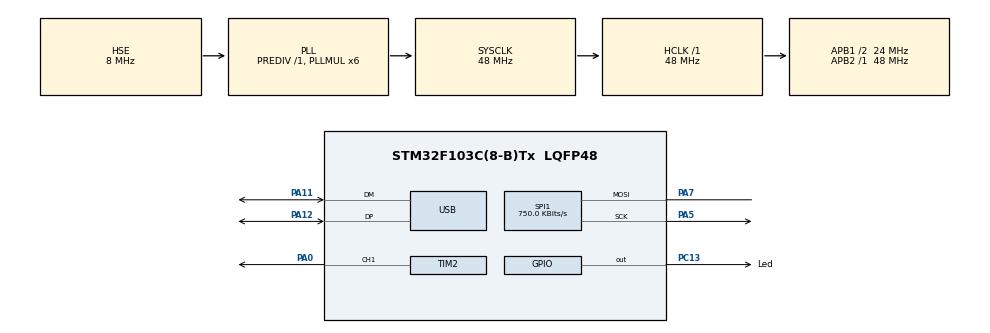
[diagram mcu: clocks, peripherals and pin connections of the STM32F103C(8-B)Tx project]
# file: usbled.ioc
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Dma.Request0=SPI1_TX
Dma.Request1=TIM2_CH1
Dma.SPI1_TX.0.Direction=DMA_MEMORY_TO_PERIPH
Dma.SPI1_TX.0.Instance=DMA1_Channel3
Dma.SPI1_TX.0.MemDataAlignment=DMA_MDATAALIGN_BYTE
Dma.SPI1_TX.0.MemInc=DMA_MINC_ENABLE
Dma.SPI1_TX.0.Mode=DMA_NORMAL
Dma.SPI1_TX.0.PeriphDataAlignment=DMA_PDATAALIGN_BYTE
Dma.SPI1_TX.0.PeriphInc=DMA_PINC_DISABLE
Dma.SPI1_TX.0.Priority=DMA_PRIORITY_MEDIUM
Dma.TIM2_CH1.1.Direction=DMA_MEMORY_TO_PERIPH
Dma.TIM2_CH1.1.Instance=DMA1_Channel5
Dma.TIM2_CH1.1.MemDataAlignment=DMA_MDATAALIGN_BYTE
Dma.TIM2_CH1.1.MemInc=DMA_MINC_ENABLE
Dma.TIM2_CH1.1.Mode=DMA_CIRCULAR
Dma.TIM2_CH1.1.PeriphDataAlignment=DMA_PDATAALIGN_HALFWORD
Dma.TIM2_CH1.1.PeriphInc=DMA_PINC_DISABLE
Dma.TIM2_CH1.1.Priority=DMA_PRIORITY_HIGH
Mcu.Family=STM32F1
Mcu.Name=STM32F103C(8-B)Tx
Mcu.Package=LQFP48
NVIC.DMA1_Channel3_IRQn=true\:0\:0\:false\:false\:true\:false
NVIC.DMA1_Channel5_IRQn=true\:0\:0\:false\:false\:true\:false
NVIC.PriorityGroup=NVIC_PRIORITYGROUP_4
NVIC.USB_LP_CAN1_RX0_IRQn=true\:0\:0\:false\:false\:true\:false
PA0-WKUP.GPIO_Speed=GPIO_SPEED_FREQ_HIGH
PA0-WKUP.Signal=S_TIM2_CH1_ETR
PA11.Mode=Device
PA11.Signal=USB_DM
PA12.Mode=Device
PA12.Signal=USB_DP
PA13.Mode=Serial_Wire
PA13.Signal=SYS_JTMS-SWDIO
PA14.Mode=Serial_Wire
PA14.Signal=SYS_JTCK-SWCLK
PA5.Mode=Simplex_Bidirectional_Master
PA5.Signal=SPI1_SCK
PA7.Mode=Simplex_Bidirectional_Master
PA7.Signal=SPI1_MOSI
PC13-TAMPER-RTC.GPIO_Label=Led
PC13-TAMPER-RTC.GPIO_Speed=GPIO_SPEED_FREQ_LOW
PC13-TAMPER-RTC.PinState=GPIO_PIN_SET
PC13-TAMPER-RTC.Signal=GPIO_Output
PD0-OSC_IN.Mode=HSE-External-Oscillator
PD0-OSC_IN.Signal=RCC_OSC_IN
PD1-OSC_OUT.Mode=HSE-External-Oscillator
PD1-OSC_OUT.Signal=RCC_OSC_OUT
ProjectManager.HeapSize=0x200
ProjectManager.StackSize=0x400
ProjectManager.TargetToolchain=Makefile
RCC.AHBFreq_Value=48000000
RCC.APB1CLKDivider=RCC_HCLK_DIV2
RCC.APB1Freq_Value=24000000
RCC.APB1TimFreq_Value=48000000
RCC.APB2Freq_Value=48000000
RCC.APB2TimFreq_Value=48000000
RCC.HCLKFreq_Value=48000000
RCC.PLLMUL=RCC_PLL_MUL6
RCC.SYSCLKFreq_VALUE=48000000
RCC.SYSCLKSource=RCC_SYSCLKSOURCE_PLLCLK
RCC.USBFreq_Value=48000000
SH.S_TIM2_CH1_ETR.0=TIM2_CH1,PWM Generation1 CH1
SPI1.BaudRatePrescaler=SPI_BAUDRATEPRESCALER_64
SPI1.CalculateBaudRate=750.0 KBits/s
SPI1.Direction=SPI_DIRECTION_1LINE
SPI1.Mode=SPI_MODE_MASTER
SPI1.VirtualType=VM_MASTER
TIM2.Channel-PWM\ Generation1\ CH1=TIM_CHANNEL_1
TIM2.Period=59
TIM2.Pulse-PWM\ Generation1\ CH1=19
USB_DEVICE.CLASS_NAME_FS=CDC
USB_DEVICE.VirtualMode=Cdc
USB_DEVICE.VirtualModeFS=Cdc_FS
VP_USB_DEVICE_VS_USB_DEVICE_CDC_FS.Mode=CDC_FS
board=usbled

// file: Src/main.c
/* USER CODE BEGIN Header */
/**
  ******************************************************************************
  * @file           : main.c
  * @brief          : Main program body
  ******************************************************************************
  * This notice applies to any and all portions of this file
  * that are not between comment pairs USER CODE BEGIN and
  * USER CODE END. Other portions of this file, whether
  * inserted by the user or by software development tools
  * are owned by their respective copyright owners.
  *
  * Copyright (c) 2018 STMicroelectronics International N.V.
  * All rights reserved.
  *
  * Redistribution and use in source and binary forms, with or without
  * modification, are permitted, provided that the following conditions are met:
  *
  * 1. Redistribution of source code must retain the above copyright notice,
  *    this list of conditions and the following disclaimer.
  * 2. Redistributions in binary form must reproduce the above copyright notice,
  *    this list of conditions and the following disclaimer in the documentation
  *    and/or other materials provided with the distribution.
  * 3. Neither the name of STMicroelectronics nor the names of other
  *    contributors to this software may be used to endorse or promote products
  *    derived from this software without specific written permission.
  * 4. This software, including modifications and/or derivative works of this
  *    software, must execute solely and exclusively on microcontroller or
  *    microprocessor devices manufactured by or for STMicroelectronics.
  * 5. Redistribution and use of this software other than as permitted under
  *    this license is void and will automatically terminate your rights under
  *    this license.
  *
  * THIS SOFTWARE IS PROVIDED BY STMICROELECTRONICS AND CONTRIBUTORS "AS IS"
  * AND ANY EXPRESS, IMPLIED OR STATUTORY WARRANTIES, INCLUDING, BUT NOT
  * LIMITED TO, THE IMPLIED WARRANTIES OF MERCHANTABILITY, FITNESS FOR A
  * PARTICULAR PURPOSE AND NON-INFRINGEMENT OF THIRD PARTY INTELLECTUAL PROPERTY
  * RIGHTS ARE DISCLAIMED TO THE FULLEST EXTENT PERMITTED BY LAW. IN NO EVENT
  * SHALL STMICROELECTRONICS OR CONTRIBUTORS BE LIABLE FOR ANY DIRECT, INDIRECT,
  * INCIDENTAL, SPECIAL, EXEMPLARY, OR CONSEQUENTIAL DAMAGES (INCLUDING, BUT NOT
  * LIMITED TO, PROCUREMENT OF SUBSTITUTE GOODS OR SERVICES; LOSS OF USE, DATA,
  * OR PROFITS; OR BUSINESS INTERRUPTION) HOWEVER CAUSED AND ON ANY THEORY OF
  * LIABILITY, WHETHER IN CONTRACT, STRICT LIABILITY, OR TORT (INCLUDING
  * NEGLIGENCE OR OTHERWISE) ARISING IN ANY WAY OUT OF THE USE OF THIS SOFTWARE,
  * EVEN IF ADVISED OF THE POSSIBILITY OF SUCH DAMAGE.
  *
  ******************************************************************************
  */
/* USER CODE END Header */

#include "main.h"
#include "usb_device.h"

/* USER CODE BEGIN Includes */
#include <usbd_cdc_if.h>
#include <circ_buf.h>
/* USER CODE END Includes */

SPI_HandleTypeDef hspi1;
DMA_HandleTypeDef hdma_spi1_tx;

TIM_HandleTypeDef htim2;
DMA_HandleTypeDef hdma_tim2_ch1;

/* USER CODE BEGIN PV */
/* Private variables ---------------------------------------------------------*/

/* USER CODE END PV */

void SystemClock_Config(void);
static void MX_GPIO_Init(void);
static void MX_DMA_Init(void);
static void MX_SPI1_Init(void);
static void MX_TIM2_Init(void);
/* USER CODE BEGIN PFP */
/* Private function prototypes -----------------------------------------------*/
typedef enum {
    APP_SATTE_INIT,
    APP_SATTE_INIT_D,
    APP_SATTE_INIT_A,
    APP_SATTE_HI,
    APP_SATTE_LO,
    APP_SATTE_CHK,
    APP_SATTE_DATA
} AppState_t;

CIRC_BUF_DEF(cdc_circ_buf, 1024);
volatile static uint8_t needUpdate = 0;
#define LED_COUNT 1000
uint8_t ledBuf[LED_COUNT * 3] = {0};
#define LED_PWM_HALF_LEN 50
#define LED_PWM_TOTAL_LEN (LED_PWM_HALF_LEN*2)
#define PWM_BUFF_LEN  (LED_PWM_TOTAL_LEN * 3 * 8)
uint8_t ledPWMBuf[PWM_BUFF_LEN] = {0};

uint16_t ledPWMBufIndex;   // 下次DMA数据写入到 ledPWMBuf 的 Index
uint16_t ledPWMSendIndex;  //  ledBuf中下一个写入到 ledPWMBuf 进行数据传输的 Index
static uint8_t hi, lo, chk;
static AppState_t appState;
static uint16_t ledLen = LED_COUNT*3;
static uint16_t ledBufIndex = 0;
static uint32_t last_data_tick;

void HAL_TIM_PWM_PulseFinishedCallback(TIM_HandleTypeDef *htim);
void APP_PWM_Start_DMA(void);
void APP_TIM_DMADelayPulseCplt(DMA_HandleTypeDef *hdma);
void APP_PWM_Fill_Half(void);
void fillLedPwmBuff(int ledx, uint8_t value);
/* USER CODE END PFP */

int main(void)
{

  /* MCU Configuration--------------------------------------------------------*/

  /* Reset of all peripherals, Initializes the Flash interface and the Systick. */
  HAL_Init();

  /* Configure the system clock */
  SystemClock_Config();

  /* Initialize all configured peripherals */
  MX_GPIO_Init();
  MX_DMA_Init();
  MX_USB_DEVICE_Init();
  MX_SPI1_Init();
  MX_TIM2_Init();
  /* USER CODE BEGIN 2 */

  HAL_Delay(100);
  uint16_t i;
  for (i = 0; i < LED_COUNT; i++) {
    ledBuf[i * 3] = 0x00;
    ledBuf[i * 3 + 1] = 0x00;
    ledBuf[i * 3 + 2] = 0x01;
  }

//  HAL_TIM_PWM_Start_DMA(&htim2, TIM_CHANNEL_1, (uint32_t *)&ledPWMBuf[0], PWM_BUFF_LEN);
  APP_PWM_Start_DMA();
  HAL_SPI_Transmit_DMA(&hspi1, &ledBuf[0], LED_COUNT * 3);
  HAL_Delay(500);

  for (i = 0; i < LED_COUNT; i++) {
    ledBuf[i * 3] = 0x00;
    ledBuf[i * 3 + 1] = 0x00;
    ledBuf[i * 3 + 2] = 0x00;
  }
//  HAL_TIM_PWM_Start_DMA(&htim2, TIM_CHANNEL_1, (uint32_t *)&ledPWMBuf[0], PWM_BUFF_LEN);
  APP_PWM_Start_DMA();
  HAL_SPI_Transmit_DMA(&hspi1, &ledBuf[0], LED_COUNT * 3);
  HAL_Delay(10);

  uint8_t buf[12];

  buf[0] = 'A';
  buf[1] = 'd';
  buf[2] = 'a';
  buf[3] = '\n';
  CDC_Transmit_FS(buf, 4);
  last_data_tick = HAL_GetTick();

  uint8_t tmp;
  int tmp_result;
  uint32_t cur_tick;
  appState = APP_SATTE_INIT;

  /* USER CODE END 2 */

  /* Infinite loop */
  while (1) {

    /* USER CODE BEGIN 3 */
    cur_tick = HAL_GetTick();
    if (cur_tick - last_data_tick > 15000) {
      buf[0] = 'A';
      buf[1] = 'd';
      buf[2] = 'a';
      buf[3] = '\n';
      appState = APP_SATTE_INIT;
      CDC_Transmit_FS(buf, 4);
      last_data_tick = HAL_GetTick();
      HAL_GPIO_WritePin(Led_GPIO_Port, Led_Pin, GPIO_PIN_RESET);
    }
    tmp_result = circ_buf_pop(&cdc_circ_buf, &tmp);
    if (-1 == tmp_result) {
      continue;
    }
    last_data_tick = cur_tick;
    switch (appState) {
      case APP_SATTE_INIT:
        if (tmp == 'A') {
          appState = APP_SATTE_INIT_D;
        }
        break;
      case APP_SATTE_INIT_D:
        if (tmp == 'd') {
          appState = APP_SATTE_INIT_A;

        } else {
          appState = APP_SATTE_INIT;
        }
        break;
      case APP_SATTE_INIT_A:
        if (tmp == 'a') {
          appState = APP_SATTE_HI;

        } else {
          appState = APP_SATTE_INIT;
        }
        break;
      case APP_SATTE_HI:
        hi = tmp;
        appState = APP_SATTE_LO;
        break;
      case APP_SATTE_LO:
        lo = tmp;
        appState = APP_SATTE_CHK;
        break;
      case APP_SATTE_CHK:
        chk = tmp;

        if (chk == (hi ^ lo ^ 0x55)) {
          ledLen = (uint16_t) (3L * (256L * (long) hi + (long) lo + 1));
          ledBufIndex = 0;
          appState = APP_SATTE_DATA;
          HAL_GPIO_WritePin(Led_GPIO_Port, Led_Pin, GPIO_PIN_RESET);
        } else {
          appState = APP_SATTE_INIT;

        }
        break;
      case APP_SATTE_DATA:
        ledBuf[ledBufIndex] = tmp;
        ledBufIndex++;
        if (ledBufIndex == ledLen) {
//          HAL_TIM_PWM_Start_DMA(&htim2, TIM_CHANNEL_1, (uint32_t *)&ledPWMBuf[0], (uint16_t)((LED_PWM_RESET_LEN*3+ledLen)*8));
          APP_PWM_Start_DMA();
          HAL_SPI_Transmit_DMA(&hspi1, &ledBuf[0], ledLen);
          appState = APP_SATTE_INIT;
        }
        break;
    }
  }
  /* USER CODE END 3 */
}

void SystemClock_Config(void)
{
  RCC_OscInitTypeDef RCC_OscInitStruct = {0};
  RCC_ClkInitTypeDef RCC_ClkInitStruct = {0};
  RCC_PeriphCLKInitTypeDef PeriphClkInit = {0};

  /**Initializes the CPU, AHB and APB busses clocks
  */
  RCC_OscInitStruct.OscillatorType = RCC_OSCILLATORTYPE_HSE;
  RCC_OscInitStruct.HSEState = RCC_HSE_ON;
  RCC_OscInitStruct.HSEPredivValue = RCC_HSE_PREDIV_DIV1;
  RCC_OscInitStruct.HSIState = RCC_HSI_ON;
  RCC_OscInitStruct.PLL.PLLState = RCC_PLL_ON;
  RCC_OscInitStruct.PLL.PLLSource = RCC_PLLSOURCE_HSE;
  RCC_OscInitStruct.PLL.PLLMUL = RCC_PLL_MUL6;
  if (HAL_RCC_OscConfig(&RCC_OscInitStruct) != HAL_OK)
  {
    Error_Handler();
  }
  /**Initializes the CPU, AHB and APB busses clocks
  */
  RCC_ClkInitStruct.ClockType = RCC_CLOCKTYPE_HCLK|RCC_CLOCKTYPE_SYSCLK
                              |RCC_CLOCKTYPE_PCLK1|RCC_CLOCKTYPE_PCLK2;
  RCC_ClkInitStruct.SYSCLKSource = RCC_SYSCLKSOURCE_PLLCLK;
  RCC_ClkInitStruct.AHBCLKDivider = RCC_SYSCLK_DIV1;
  RCC_ClkInitStruct.APB1CLKDivider = RCC_HCLK_DIV2;
  RCC_ClkInitStruct.APB2CLKDivider = RCC_HCLK_DIV1;

  if (HAL_RCC_ClockConfig(&RCC_ClkInitStruct, FLASH_LATENCY_1) != HAL_OK)
  {
    Error_Handler();
  }
  PeriphClkInit.PeriphClockSelection = RCC_PERIPHCLK_USB;
  PeriphClkInit.UsbClockSelection = RCC_USBCLKSOURCE_PLL;
  if (HAL_RCCEx_PeriphCLKConfig(&PeriphClkInit) != HAL_OK)
  {
    Error_Handler();
  }
}

static void MX_SPI1_Init(void)
{

  /* SPI1 parameter configuration*/
  hspi1.Instance = SPI1;
  hspi1.Init.Mode = SPI_MODE_MASTER;
  hspi1.Init.Direction = SPI_DIRECTION_1LINE;
  hspi1.Init.DataSize = SPI_DATASIZE_8BIT;
  hspi1.Init.CLKPolarity = SPI_POLARITY_LOW;
  hspi1.Init.CLKPhase = SPI_PHASE_1EDGE;
  hspi1.Init.NSS = SPI_NSS_SOFT;
  hspi1.Init.BaudRatePrescaler = SPI_BAUDRATEPRESCALER_64;
  hspi1.Init.FirstBit = SPI_FIRSTBIT_MSB;
  hspi1.Init.TIMode = SPI_TIMODE_DISABLE;
  hspi1.Init.CRCCalculation = SPI_CRCCALCULATION_DISABLE;
  hspi1.Init.CRCPolynomial = 10;
  if (HAL_SPI_Init(&hspi1) != HAL_OK)
  {
    Error_Handler();
  }

}

static void MX_TIM2_Init(void)
{

  TIM_MasterConfigTypeDef sMasterConfig = {0};
  TIM_OC_InitTypeDef sConfigOC = {0};

  htim2.Instance = TIM2;
  htim2.Init.Prescaler = 0;
  htim2.Init.CounterMode = TIM_COUNTERMODE_UP;
  htim2.Init.Period = 59;
  htim2.Init.ClockDivision = TIM_CLOCKDIVISION_DIV1;
  htim2.Init.AutoReloadPreload = TIM_AUTORELOAD_PRELOAD_DISABLE;
  if (HAL_TIM_PWM_Init(&htim2) != HAL_OK)
  {
    Error_Handler();
  }
  sMasterConfig.MasterOutputTrigger = TIM_TRGO_RESET;
  sMasterConfig.MasterSlaveMode = TIM_MASTERSLAVEMODE_DISABLE;
  if (HAL_TIMEx_MasterConfigSynchronization(&htim2, &sMasterConfig) != HAL_OK)
  {
    Error_Handler();
  }
  sConfigOC.OCMode = TIM_OCMODE_PWM1;
  sConfigOC.Pulse = 19;
  sConfigOC.OCPolarity = TIM_OCPOLARITY_HIGH;
  sConfigOC.OCFastMode = TIM_OCFAST_DISABLE;
  if (HAL_TIM_PWM_ConfigChannel(&htim2, &sConfigOC, TIM_CHANNEL_1) != HAL_OK)
  {
    Error_Handler();
  }
  /* USER CODE BEGIN TIM2_Init 2 */
  htim2.hdma[TIM_DMA_ID_CC1]->XferHalfCpltCallback = APP_TIM_DMADelayPulseCplt;
  /* USER CODE END TIM2_Init 2 */
  HAL_TIM_MspPostInit(&htim2);

}

static void MX_DMA_Init(void)
{
  /* DMA controller clock enable */
  __HAL_RCC_DMA1_CLK_ENABLE();

  /* DMA interrupt init */
  /* DMA1_Channel3_IRQn interrupt configuration */
  HAL_NVIC_SetPriority(DMA1_Channel3_IRQn, 0, 0);
  HAL_NVIC_EnableIRQ(DMA1_Channel3_IRQn);
  /* DMA1_Channel5_IRQn interrupt configuration */
  HAL_NVIC_SetPriority(DMA1_Channel5_IRQn, 0, 0);
  HAL_NVIC_EnableIRQ(DMA1_Channel5_IRQn);

}

static void MX_GPIO_Init(void)
{
  GPIO_InitTypeDef GPIO_InitStruct = {0};

  /* GPIO Ports Clock Enable */
  __HAL_RCC_GPIOC_CLK_ENABLE();
  __HAL_RCC_GPIOD_CLK_ENABLE();
  __HAL_RCC_GPIOA_CLK_ENABLE();

  /*Configure GPIO pin Output Level */
  HAL_GPIO_WritePin(Led_GPIO_Port, Led_Pin, GPIO_PIN_SET);

  /*Configure GPIO pin : Led_Pin */
  GPIO_InitStruct.Pin = Led_Pin;
  GPIO_InitStruct.Mode = GPIO_MODE_OUTPUT_PP;
  GPIO_InitStruct.Pull = GPIO_NOPULL;
  GPIO_InitStruct.Speed = GPIO_SPEED_FREQ_LOW;
  HAL_GPIO_Init(Led_GPIO_Port, &GPIO_InitStruct);

}

/* USER CODE BEGIN 4 */
void onSerial(uint8_t *Buf, uint32_t Len) {
  for (uint32_t i = 0; i < Len; i++) {
    circ_buf_push(&cdc_circ_buf, Buf[i]);
  }
}

void fillLedPwmReset(int ledx) {
  for (uint16_t i = 0; i < 8; i++) {
    ledPWMBuf[ledx*8 + i] = 0x00;
  }
}

void fillLedPwmBuff(int ledx, uint8_t value) {
  uint16_t i;
  if(ledx % 3 == 2){
    ledx = ledx - 2;
  }
  else{
    ledx = ledx + 1;
  }
  for (i = 0; i < 8; i++) {
    ledPWMBuf[ledx*8 + i] = (value & (1 << (7 - i))) ? (uint8_t)(2*TIM2->ARR/3) : (uint8_t)(TIM2->ARR/3);
  }
}

void APP_PWM_Start_DMA(void) {
//  ledPWMBufIndex;   // 下次DMA数据写入到 ledPWMBuf 的 Index
//  ledPWMSendIndex;  //  ledBuf中下一个写入到 ledPWMBuf 进行数据传输的 Index
  ledPWMBufIndex = LED_PWM_HALF_LEN*3;
  ledPWMSendIndex = 0;
  // RESET 码
  uint16_t i = 0;
  for(i=0; i<LED_PWM_HALF_LEN*3; i++){
    fillLedPwmReset(i);
  }
  APP_PWM_Fill_Half();
  HAL_TIM_PWM_Start_DMA(&htim2, TIM_CHANNEL_1, (uint32_t *)&ledPWMBuf[0], (uint16_t)(PWM_BUFF_LEN));
}

void APP_PWM_Fill_Half(void) {
  uint16_t i = 0;
  for(i=0; i<LED_PWM_HALF_LEN*3; i++){
    if(ledPWMSendIndex >= ledLen){
      break;
    }
    fillLedPwmBuff(ledPWMBufIndex+i, ledBuf[ledPWMSendIndex]);
    ledPWMSendIndex ++;
  }
  while(i<LED_PWM_HALF_LEN*3){
    fillLedPwmReset(i);
    i++;
  }
  if(ledPWMBufIndex == 0){
    ledPWMBufIndex = LED_PWM_HALF_LEN*3;
  }
  else{
    ledPWMBufIndex = 0;
  }
}

void APP_TIM_DMADelayPulseCplt(DMA_HandleTypeDef *hdma) {
  APP_PWM_Fill_Half();
  HAL_GPIO_WritePin(Led_GPIO_Port, Led_Pin, GPIO_PIN_RESET);
}

void HAL_TIM_PWM_PulseFinishedCallback(TIM_HandleTypeDef *htim){
  if(htim->Instance==TIM2)
  {
    if(ledPWMSendIndex >= ledLen){
      HAL_GPIO_WritePin(Led_GPIO_Port, Led_Pin, GPIO_PIN_SET);
      HAL_TIM_PWM_Stop_DMA(&htim2, TIM_CHANNEL_1);
    }
    else{
      APP_PWM_Fill_Half();
    }
  }
}

/* USER CODE END 4 */

void Error_Handler(void)
{
  while (1) {
  }
}

/************************ (C) COPYRIGHT STMicroelectronics *****END OF FILE****/
